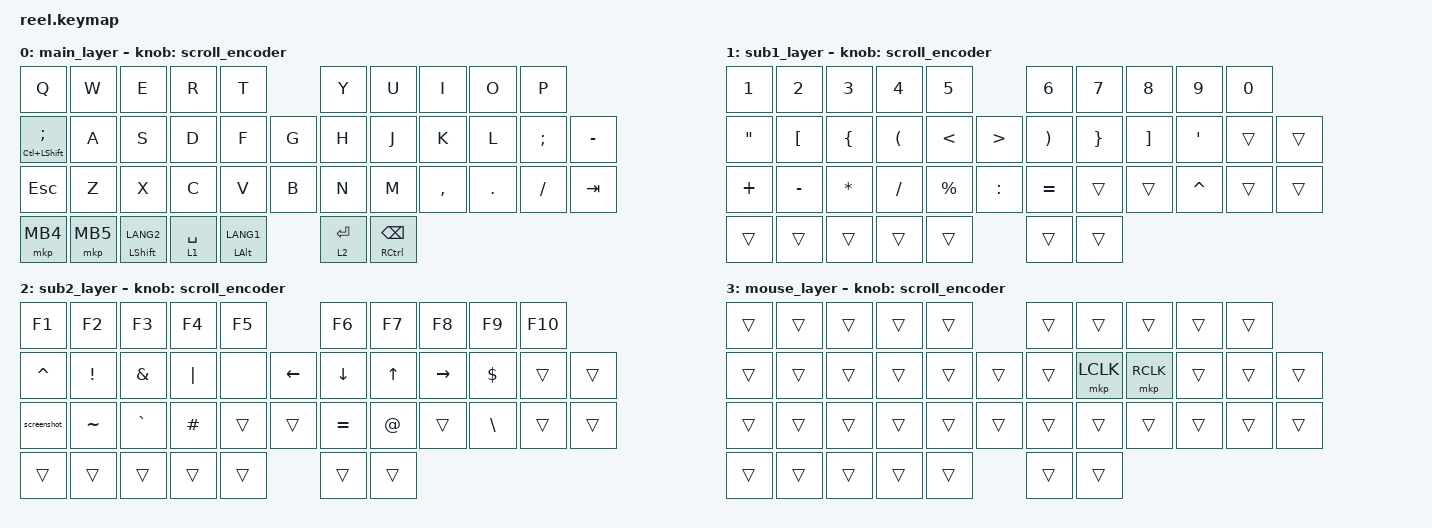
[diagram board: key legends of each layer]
#include <behaviors.dtsi>
#include <dt-bindings/zmk/keys.h>
#include <dt-bindings/zmk/mouse.h>

/ {
    behaviors {
        scroll_encoder: scroll_encoder {
            compatible = "zmk,behavior-sensor-rotate";
            #sensor-binding-cells = <0>;
            bindings = <&msc SCRL_UP>, <&msc SCRL_DOWN>;
        };
    };

    macros {
        screenshot: screenshot {
            compatible = "zmk,behavior-macro";
            #binding-cells = <0>;
            wait-ms = <0>;
            tap-ms = <40>;
            bindings = <&kp LG(LS(S))>;
        };
    };

    keymap {
        compatible = "zmk,keymap";

        main_layer {
            /*
             * The first two bindings on the bottom row are the upper/lower
             * switches on the left shaft extension. The final two bindings
             * are the two right thumb keys.
             */
            bindings = <
                &kp Q           &kp W           &kp E       &kp R       &kp T              &kp Y      &kp U     &kp I     &kp O     &kp P
                &mt LC(LSHFT) SEMI &kp A        &kp S       &kp D       &kp F       &kp G   &kp H      &kp J     &kp K     &kp L     &kp SEMI &kp MINUS
                &kp ESC         &kp Z           &kp X       &kp C       &kp V       &kp B   &kp N      &kp M     &kp COMMA &kp DOT   &kp FSLH &kp TAB
                &mkp MB4        &mkp MB5        &mt LSHFT LANG2 &lt 1 SPACE &mt LALT LANG1   &lt 2 ENTER &mt RCTRL BSPC
            >;

            sensor-bindings = <&scroll_encoder>;
        };

        sub1_layer {
            bindings = <
                &kp N1    &kp N2    &kp N3    &kp N4    &kp N5         &kp N6    &kp N7    &kp N8    &kp N9    &kp N0
                &kp DQT   &kp LBKT  &kp LBRC  &kp LPAR  &kp LT   &kp GT    &kp RPAR  &kp RBRC  &kp RBKT  &kp SQT   &trans &trans
                &kp PLUS  &kp MINUS &kp STAR  &kp FSLH  &kp PRCNT &kp COLON &kp EQUAL &trans   &trans    &kp CARET &trans &trans
                &trans   &trans   &trans   &trans   &trans            &trans   &trans
            >;

            sensor-bindings = <&scroll_encoder>;
        };

        sub2_layer {
            bindings = <
                &kp F1       &kp F2    &kp F3    &kp F4    &kp F5       &kp F6    &kp F7    &kp F8    &kp F9    &kp F10
                &kp CARET    &kp EXCL  &kp AMPS  &kp PIPE  &none        &kp LEFT  &kp DOWN  &kp UP    &kp RIGHT &kp DLLR  &trans &trans
                &screenshot  &kp TILDE &kp GRAVE &kp HASH  &trans       &trans    &kp EQUAL &kp AT    &trans    &kp BSLH  &trans &trans
                &trans   &trans   &trans   &trans   &trans            &trans   &trans
            >;

            sensor-bindings = <&scroll_encoder>;
        };

        mouse_layer {
            bindings = <
                &trans   &trans   &trans   &trans   &trans        &trans   &trans   &trans   &trans   &trans
                &trans   &trans   &trans   &trans   &trans   &trans   &trans   &mkp LCLK &mkp RCLK &trans   &trans &trans
                &trans   &trans   &trans   &trans   &trans   &trans   &trans   &trans   &trans   &trans   &trans &trans
                &trans   &trans   &trans   &trans   &trans            &trans   &trans
            >;

            sensor-bindings = <&scroll_encoder>;
        };
    };
};
